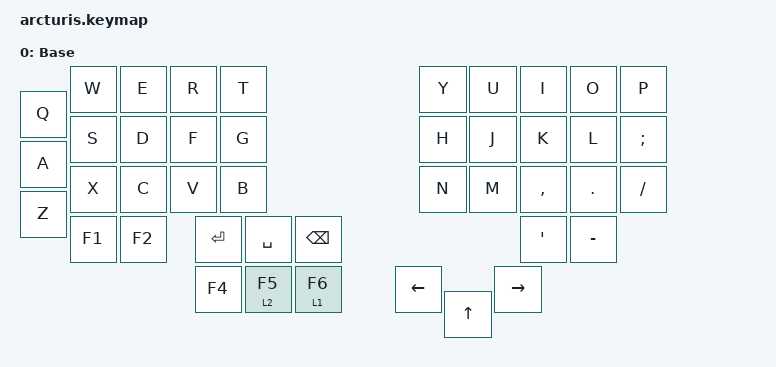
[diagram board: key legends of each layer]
#include <behaviors.dtsi>
#include <dt-bindings/zmk/keys.h>
#include <dt-bindings/zmk/bt.h>
#include <dt-bindings/zmk/ext_power.h>
#include <dt-bindings/zmk/mouse.h>
#include <dt-bindings/zmk/outputs.h>
#include <input/processors.dtsi>
#include <dt-bindings/zmk/input_transform.h>

#define Base 0

/ {
    behaviors {
        hm: homerow_mods {
            compatible = "zmk,behavior-hold-tap";
            #binding-cells = <2>;
            flavor = "tap-preferred";
            tapping-term-ms = <240>;
            quick-tap-ms = <150>;
            bindings =
                <&kp>,
                <&kp>;
        };

        lt: layer_tap {
            compatible = "zmk,behavior-hold-tap";
            #binding-cells = <2>;
            flavor = "balanced";
            tapping-term-ms = <240>;
            quick-tap-ms = <150>;
            bindings = 
                <&mo>,
                <&kp>;
        };
    };

    
    keymap {
        compatible = "zmk,keymap";

        Base {
            bindings = <
        &kp Q   &kp W   &kp E   &kp R      &kp T             &kp Y     &kp U   &kp I      &kp O       &kp P
        &kp A   &kp S   &kp D   &kp F      &kp G             &kp H     &kp J   &kp K      &kp L       &kp SEMICOLON
        &kp Z   &kp X   &kp C   &kp V      &kp B             &kp N     &kp M   &kp COMMA  &kp PERIOD  &kp SLASH
        &kp F1  &kp F2  &kp ENTER  &kp SPACE  &kp BACKSPACE         &kp LEFT  &kp UP  &kp RIGHT  &kp SQT     &kp MINUS
                        &kp F4  &lt 2 F5   &lt 1 F6
            >;
        };

    };
};
